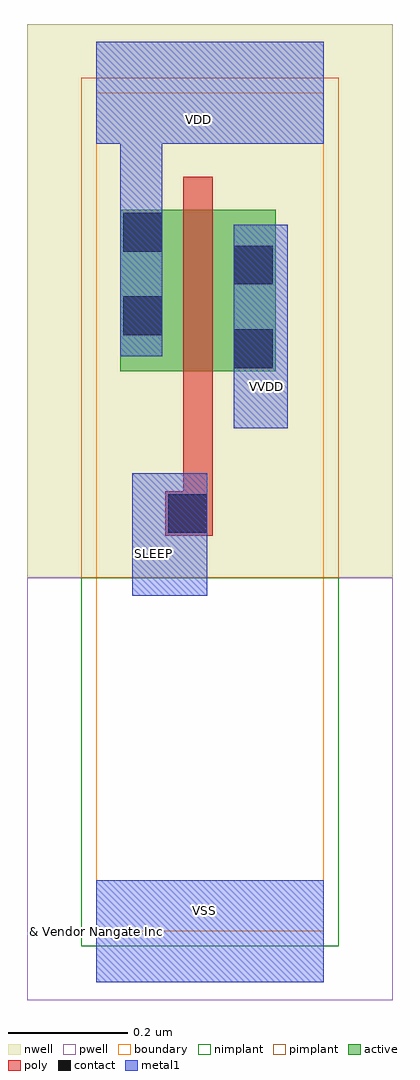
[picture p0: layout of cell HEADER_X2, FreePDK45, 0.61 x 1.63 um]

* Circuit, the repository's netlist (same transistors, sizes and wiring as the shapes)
* 
* ******************************************************************************
* *                                                                            *
* *                   Copyright (C) 2004-2011, Nangate Inc.                    *
* *                           All rights reserved.                             *
* *                                                                            *
* * Nangate and the Nangate logo are trademarks of Nangate Inc.                *
* *                                                                            *
* * All trademarks, logos, software marks, and trade names (collectively the   *
* * "Marks") in this program are proprietary to Nangate or other respective    *
* * owners that have granted Nangate the right and license to use such Marks.  *
* * You are not permitted to use the Marks without the prior written consent   *
* * of Nangate or such third party that may own the Marks.                     *
* *                                                                            *
* * This file has been provided pursuant to a License Agreement containing     *
* * restrictions on its use. This file contains valuable trade secrets and     *
* * proprietary information of Nangate Inc., and is protected by U.S. and      *
* * international laws and/or treaties.                                        *
* *                                                                            *
* * The copyright notice(s) in this file does not indicate actual or intended  *
* * publication of this file.                                                  *
* *                                                                            *
* *     NGLibraryCreator, v2010.08-HR32-SP3-2010-08-05 - build 1009061800      *
* *                                                                            *
* ******************************************************************************
* 
* 
* Running on server08.nangate.com for user Giancarlo Franciscatto (gfr).
* Local time is now Thu, 6 Jan 2011, 19:45:44.
* Main process id is 3320.
*
********************************************************************************
*                                                                              *
* Cellname:   HEADER_X2.                                                       *
*                                                                              *
* Technology: NCSU FreePDK 45nm.                                               *
* Format:     Cdl.                                                             *
*                                                                              *
* Written on server08.nangate.com for user Giancarlo Franciscatto (gfr)        *
* at 19:45:44 on Thu, 6 Jan 2011.                                              *
*                                                                              *
********************************************************************************
.SUBCKT HEADER_X2 SLEEP VDD VSS VVDD 
*.PININFO SLEEP:I VDD:P VSS:G VVDD:P 
M_i_0 VVDD SLEEP VDD VDD PMOS_VTL W=0.270000U L=0.050000U
.ENDS 

********************************************************************************
*
* END
*
********************************************************************************

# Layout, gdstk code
import gdstk
lib = gdstk.Library(unit=1e-6, precision=1e-10)
def R(c, l, rs):  # rectangles x0, y0, x1, y1
    for r in rs: c.add(gdstk.rectangle(r[:2], r[2:], *l))
def P(c, l, *ps):  # polygons
    for p in ps: c.add(gdstk.Polygon(p, *l))
active = (1, 0)
pwell = (2, 0)
nwell = (3, 0)
nimplant = (4, 0)
pimplant = (5, 0)
poly = (9, 0)
contact = (10, 0)
metal1 = (11, 0)
boundary = (235, 0)

header_x2 = lib.new_cell('HEADER_X2')
R(header_x2, active, [(0.04,0.935,0.3,1.205)])
R(header_x2, pwell, [(-0.115,-0.115,0.495,0.59)])
R(header_x2, nwell, [(-0.115,0.59,0.495,1.515)])
R(header_x2, nimplant, [(-0.025,-0.025,0.405,0.59)])
R(header_x2, pimplant, [(-0.025,0.59,0.405,1.425)])
P(header_x2, poly, [(0.115,0.66),(0.195,0.66),(0.195,1.26),(0.145,1.26),(0.145,0.735),(0.115,0.735)])
R(header_x2, contact, [(0.12,0.665,0.185,0.73), (0.23,0.94,0.295,1.005), (0.045,0.995,0.11,1.06), (0.23,1.08,0.295,1.145), (0.045,1.135,0.11,1.2)])
R(header_x2, metal1, [(0,-0.085,0.38,0.085), (0.06,0.56,0.185,0.765), (0.23,0.84,0.32,1.18)])
P(header_x2, metal1, [(0,1.315),(0.04,1.315),(0.04,0.96),(0.11,0.96),(0.11,1.315),(0.38,1.315),(0.38,1.485),(0,1.485)])
R(header_x2, boundary, [(0,0,0.38,1.4)])
header_x2.add(gdstk.Label('VDD', (0.17,1.355), layer=11, texttype=0))
header_x2.add(gdstk.Label('VSS', (0.18,0.035), layer=11, texttype=0))
header_x2.add(gdstk.Label('SLEEP', (0.095,0.63), layer=11, texttype=0))
header_x2.add(gdstk.Label('VVDD', (0.285,0.91), layer=11, texttype=0))
header_x2.add(gdstk.Label('& Vendor Nangate Inc', (0,0), layer=63, texttype=63))
header_x2.add(gdstk.Label('& Product Open Cell Library', (0,0), layer=63, texttype=63))
header_x2.add(gdstk.Label('& Version 2010_12', (0,0), layer=63, texttype=63))
header_x2.add(gdstk.Label('& Instance HEADER_X2', (0,0), layer=63, texttype=63))

lib.write_gds('HEADER_X2.gds')
